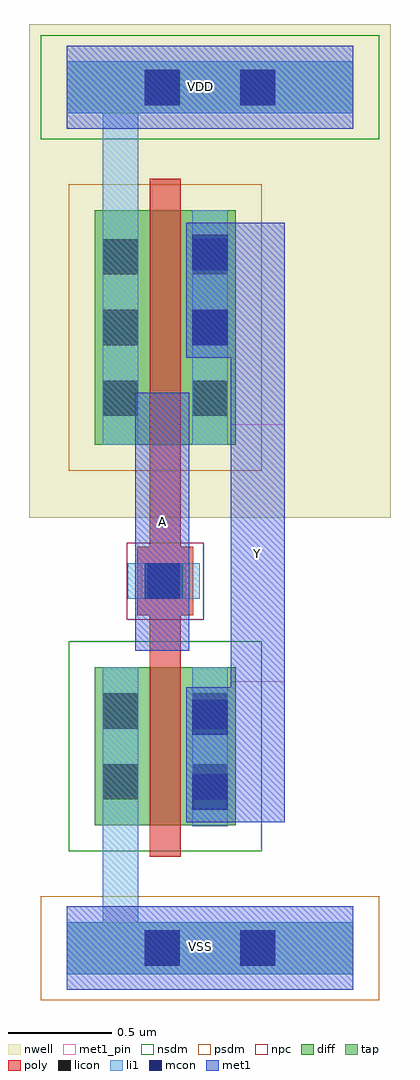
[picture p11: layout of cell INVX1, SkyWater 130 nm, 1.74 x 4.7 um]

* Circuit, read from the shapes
.subckt INVX1 A VDD VSS Y
XM1 Y A VSS VSS sky130_fd_pr__nfet_01v8 w=0.76 l=0.15
XM2 Y A VDD VDD sky130_fd_pr__pfet_01v8 w=1.13 l=0.15
.ends

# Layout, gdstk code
import gdstk
lib = gdstk.Library(unit=1e-6, precision=1e-09)
def R(c, l, rs):  # rectangles x0, y0, x1, y1
    for r in rs: c.add(gdstk.rectangle(r[:2], r[2:], *l))
def A(c, l, x, y, w, h, nx, ny, dx, dy):  # array of equal rectangles
    R(c, l, [(x+i*dx, y+j*dy, x+i*dx+w, y+j*dy+h) for i in range(nx) for j in range(ny)])
nwell = (64, 20)
diff = (65, 20)
tap = (65, 44)
poly = (66, 20)
licon = (66, 44)
li1 = (67, 20)
mcon = (67, 44)
met1_pin = (68, 16)
met1 = (68, 20)
nsdm = (93, 44)
psdm = (94, 20)
npc = (95, 20)

invx1 = lib.new_cell('INVX1')
R(invx1, nwell, [(-0.18,2.07,1.56,4.445)])
R(invx1, diff, [(0.135,0.59,0.815,1.35), (0.135,2.42,0.815,3.55)])
R(invx1, tap, [(0,-0.125,1.38,0.125), (0,4.015,1.38,4.265)])
R(invx1, poly, [(0.4,0.44,0.55,1.6), (0.34,1.6,0.61,1.93), (0.4,1.93,0.55,3.7)])
A(invx1, licon, 0.175, 2.56, 0.17, 0.17, 1, 3, 0, 0.34)
A(invx1, licon, 0.605, 2.56, 0.17, 0.17, 1, 3, 0, 0.34)
R(invx1, licon, [(0.375,-0.085,0.545,0.085), (0.835,-0.085,1.005,0.085), (0.175,0.715,0.345,0.885), (0.605,0.715,0.775,0.885), (0.175,1.055,0.345,1.225), (0.605,1.055,0.775,1.225), (0.39,1.68,0.56,1.85), (0.375,4.055,0.545,4.225), (0.835,4.055,1.005,4.225)])
R(invx1, li1, [(0,-0.125,1.38,0.125), (0.175,0.125,0.345,1.35), (0.605,0.585,0.775,1.35), (0.295,1.68,0.64,1.85), (0.175,2.42,0.345,4.015), (0.605,2.42,0.775,3.55), (0,4.015,1.38,4.265)])
R(invx1, mcon, [(0.375,-0.085,0.545,0.085), (0.835,-0.085,1.005,0.085), (0.605,0.665,0.775,0.835), (0.605,1.025,0.775,1.195), (0.375,1.68,0.545,1.85), (0.605,2.9,0.775,3.07), (0.605,3.26,0.775,3.43), (0.375,4.055,0.545,4.225), (0.835,4.055,1.005,4.225)])
R(invx1, met1_pin, [(0.79,1.28,1.05,2.52), (0.33,1.43,0.59,2.67)])
R(invx1, met1, [(0,-0.2,1.38,0.2), (0.575,0.605,1.05,1.255), (0.79,1.255,1.05,2.84), (0.33,1.43,0.59,2.67), (0.575,2.84,1.05,3.49), (0,3.94,1.38,4.34)])
R(invx1, nsdm, [(0.01,0.465,0.94,1.475), (-0.125,3.89,1.505,4.39)])
R(invx1, psdm, [(-0.125,-0.25,1.505,0.25), (0.01,2.295,0.94,3.675)])
R(invx1, npc, [(0.29,1.58,0.66,1.95)])
invx1.add(gdstk.Label('VSS', (0.645,0.005), layer=68, texttype=5))
invx1.add(gdstk.Label('VDD', (0.645,4.145), layer=68, texttype=5))
invx1.add(gdstk.Label('Y', (0.92,1.9), layer=68, texttype=5))
invx1.add(gdstk.Label('A', (0.46,2.05), layer=68, texttype=5))

lib.write_gds('INVX1.gds')
